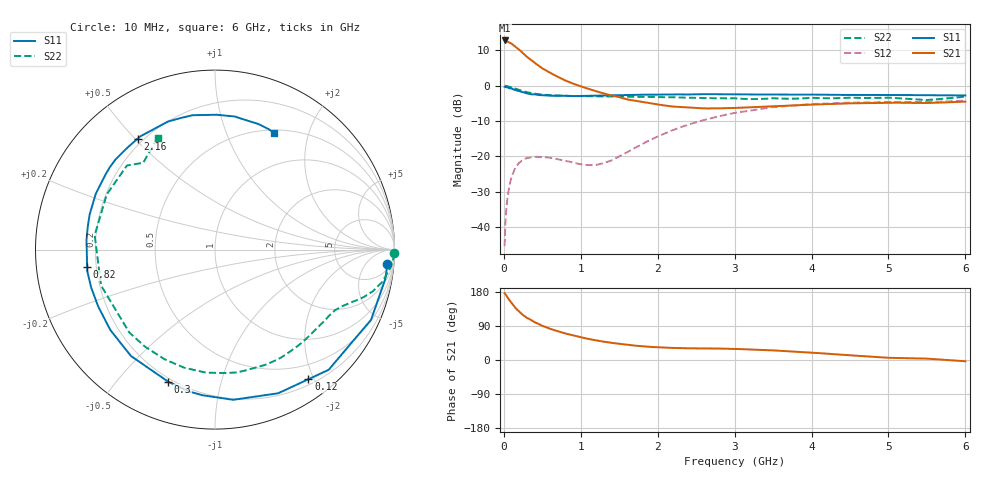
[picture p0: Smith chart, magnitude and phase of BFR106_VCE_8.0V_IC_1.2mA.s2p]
! Infineon Technologies  Discrete & RF Semiconductors
! BFR106
! VCE =  8.0 V,  IC =  1.2 mA
! Common Emitter S-Parameters:  Nov 2015
# GHz  S  MA  R  50
!  f  S11  S21  S12  S22
! GHz  MAG  ANG  MAG  ANG  MAG  ANG  MAG  ANG
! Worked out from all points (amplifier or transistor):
!   210 points, 10 MHz to 6 GHz, reference 50 ohm
!   highest |S21| = 12.8 dB at 10 MHz (marker M1)
!   |S21| within 3 dB of that: start of sweep to 218.9 MHz
!   unconditionally stable (mu >= 1): 847 MHz to 1.829 GHz; 3.212 GHz to end of sweep
!   at 185 MHz: K = 0.21, MSG = 16.3 dB, |S12| = -22.2 dB
!   at 1.52 GHz: K = 1.24, MAG = 5.3 dB, |S12| = -19.8 dB
!   at 6 GHz: K = 1.02, MAG = -1.0 dB, |S12| = -4.2 dB
!   S11 on the Smith chart (normalised r, x): 10 MHz: 9, -20; 120 MHz: 0.28, -1.92; 300 MHz: 0.18, -0.69; 820 MHz: 0.16, -0.07; 2.16 GHz: 0.18, +0.51; 6 GHz: 0.54, +1.49
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0.01  0.9642 -4.8  4.362 176.3  0.0054 89.6  0.9999 -1.2
0.02  0.9631 -9.7  4.334 173.9  0.0113 82.3  0.9972 -2.4
0.045  0.9508 -21.8  4.213 165.7  0.0249 76.7  0.9851 -5.2
0.1  0.9217 -46.6  3.951 150.7  0.0512 64.4  0.9496 -10.9
0.12  0.8902 -54.2  3.77 145.7  0.0583 59.4  0.933 -12.4
0.15  0.8744 -66.3  3.56 137.3  0.0695 53.9  0.9093 -14.8
0.2  0.8429 -83.1  3.229 127.5  0.0817 46.3  0.8715 -17.6
0.26  0.804 -100.1  2.814 116.9  0.0911 38.4  0.8298 -20.2
0.3  0.7808 -109.5  2.562 111.3  0.0951 34.8  0.8092 -21.5
0.4  0.7554 -128.3  2.109 99.8  0.099 27.4  0.7719 -24.3
0.5  0.7353 -142.5  1.762 90.1  0.0985 23.3  0.7479 -27.0
0.6  0.7239 -154.0  1.521 82.4  0.096 21.2  0.7353 -29.9
0.82  0.7195 -172.1  1.16 69.0  0.0859 22.9  0.7192 -36.8
1.02  0.7179 174.7  0.964 59.0  0.077 32.3  0.7112 -43.8
1.4  0.7335 154.8  0.727 45.3  0.0881 63.8  0.7053 -58.3
2.02  0.7492 129.8  0.538 33.5  0.1959 78.2  0.6899 -85.5
2.16  0.7536 124.9  0.514 32.2  0.2274 76.8  0.6866 -92.2
3.1  0.7557 97.5  0.49 28.6  0.4279 54.9  0.6532 -141.2
3.5  0.7514 89.3  0.512 25.4  0.4994 44.6  0.6657 -162.5
4.1  0.7472 80.5  0.545 18.1  0.5557 29.5  0.6689 169.2
5.1  0.7389 70.0  0.575 5.4  0.5876 10.7  0.6675 135.0
6  0.7287 63.1  0.596 -3.3  0.6165 -1.0  0.7008 117.2
